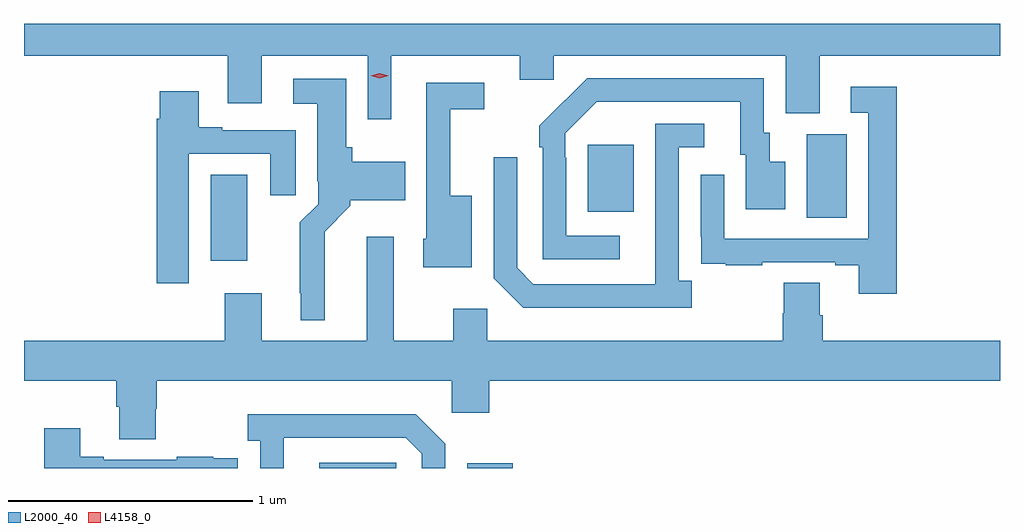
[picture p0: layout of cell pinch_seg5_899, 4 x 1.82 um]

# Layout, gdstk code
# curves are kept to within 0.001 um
import gdstk
lib = gdstk.Library(unit=1e-6, precision=1e-09)
def R(c, l, rs):  # rectangles x0, y0, x1, y1
    for r in rs: c.add(gdstk.rectangle(r[:2], r[2:], *l))
def P(c, l, *ps):  # polygons
    for p in ps: c.add(gdstk.Polygon(p, *l))
L2000_40 = (2000, 40)
L4158_0 = (4158, 0)

pinch_seg5_899 = lib.new_cell('pinch_seg5_899')
R(pinch_seg5_899, L2000_40, [(706.155,913.678,706.47,913.701), (706.76,913.678,706.948,913.699), (705.71,914.529,705.859,914.882), (708.152,914.704,708.316,915.048), (707.255,914.729,707.443,915.004)])
P(pinch_seg5_899, L2000_40, [(706.45,915.368),(706.976,915.368),(706.976,915.27),(707.115,915.27),(707.115,915.368),(708.065,915.368),(708.065,915.133),(708.205,915.133),(708.205,915.368),(708.944,915.368),(708.944,915.5),(704.944,915.5),(704.944,915.368),(705.779,915.368),(705.779,915.174),(705.919,915.174),(705.919,915.368),(706.353,915.368),(706.353,915.108),(706.45,915.108)],
  [(707.386,914.631),(707.166,914.631),(707.166,914.951),(707.163,914.951),(707.163,915.051),(707.292,915.18),(707.879,915.18),(707.879,914.964),(707.903,914.964),(707.903,914.739),(708.064,914.739),(708.064,914.935),(708.001,914.935),(708.001,915.054),(707.976,915.054),(707.976,915.276),(707.252,915.276),(707.055,915.081),(707.055,914.993),(707.07,914.993),(707.07,914.535),(707.386,914.535)],
  [(706.177,914.648),(706.282,914.754),(706.282,914.777),(706.507,914.777),(706.507,914.935),(706.29,914.935),(706.29,914.994),(706.264,914.994),(706.264,915.274),(706.047,915.274),(706.047,915.173),(706.145,915.173),(706.145,914.854),(706.149,914.854),(706.149,914.76),(706.075,914.686),(706.075,914.395),(706.079,914.395),(706.079,914.285),(706.177,914.285)],
  [(706.78,914.794),(706.691,914.794),(706.691,915.15),(706.831,915.15),(706.831,915.258),(706.592,915.258),(706.592,915.031),(706.593,915.031),(706.593,914.619),(706.58,914.619),(706.58,914.501),(706.78,914.501)],
  [(708.521,915.241),(708.333,915.241),(708.333,915.135),(708.405,915.135),(708.405,914.619),(707.814,914.619),(707.814,914.881),(707.718,914.881),(707.718,914.626),(707.719,914.626),(707.719,914.517),(707.821,914.517),(707.821,914.511),(707.969,914.511),(707.969,914.523),(708.269,914.523),(708.269,914.511),(708.365,914.511),(708.365,914.394),(708.521,914.394)],
  [(705.619,914.967),(705.953,914.967),(705.953,914.796),(706.057,914.796),(706.057,915.063),(705.757,915.063),(705.757,915.076),(705.661,915.076),(705.661,915.223),(705.5,915.223),(705.5,915.11),(705.488,915.11),(705.488,914.436),(705.619,914.436)],
  [(707.68,914.446),(707.628,914.446),(707.628,914.994),(707.731,914.994),(707.731,915.09),(707.532,915.09),(707.531,914.433),(707.031,914.433),(706.965,914.499),(706.965,914.953),(706.869,914.953),(706.869,914.457),(706.99,914.336),(707.68,914.336)],
  [(705.483,913.923),(705.488,913.923),(705.488,914.036),(706.698,914.036),(706.698,913.905),(706.85,913.905),(706.85,914.036),(708.944,914.036),(708.944,914.2),(708.218,914.2),(708.218,914.306),(708.205,914.306),(708.205,914.438),(708.058,914.438),(708.058,914.313),(708.053,914.313),(708.053,914.2),(706.842,914.2),(706.842,914.332),(706.703,914.332),(706.703,914.2),(706.459,914.2),(706.459,914.626),(706.349,914.626),(706.349,914.2),(705.919,914.2),(705.919,914.395),(705.767,914.395),(705.767,914.2),(704.944,914.2),(704.944,914.036),(705.323,914.036),(705.323,913.93),(705.335,913.93),(705.335,913.798),(705.483,913.798)],
  [(706.009,913.803),(706.509,913.803),(706.575,913.737),(706.575,913.678),(706.671,913.678),(706.671,913.779),(706.55,913.9),(705.861,913.9),(705.861,913.79),(705.912,913.79),(705.912,913.678),(706.009,913.678)],
  [(705.821,913.719),(705.719,913.719),(705.719,913.726),(705.571,913.726),(705.571,913.713),(705.271,913.713),(705.271,913.726),(705.175,913.726),(705.175,913.843),(705.027,913.843),(705.027,913.678),(705.821,913.678)])
P(pinch_seg5_899, L4158_0, [(706.401,915.276),(706.365,915.286),(706.365,915.286),(706.365,915.286),(706.401,915.296),(706.436,915.286),(706.436,915.286),(706.436,915.286)])

lib.write_gds('pinch_seg5_899.gds')
